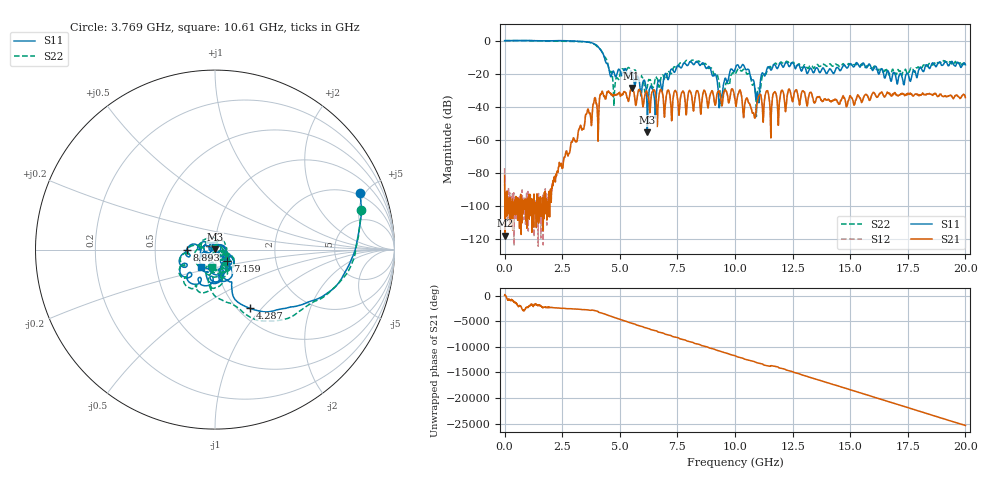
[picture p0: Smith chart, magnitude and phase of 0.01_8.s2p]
#  HZ  S  RI  R  50.00
! Rohde & Schwarz Vector Network Analyzer
! Rohde-Schwarz,ZNB20-2Port,1311601062102128,3.60
! Created: UTC 4/29/2024, 2:51:38 PM
! freq[Hz]  re:S11  im:S11  re:S21  im:S21  re:S12  im:S12  re:S22  im:S22
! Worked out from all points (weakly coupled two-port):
!   2007 points, 100 kHz to 20 GHz, reference 50 ohm
!   highest |S21| = -28.74 dB at 5.514 GHz (marker M1); lowest = -118.3 dB at 20.04 MHz (marker M2)
!   lowest |S11| = -55.5 dB at 6.191 GHz (marker M3), VSWR 1.00, Z = 50 + j0.163 ohm
!   |S11| at or under -10 dB: 4.328 GHz to end of sweep
!   |S22| runs from -46.0 to 0.1 dB; largest |S21 - S12| = 0.002
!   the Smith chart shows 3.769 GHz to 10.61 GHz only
!   S11 on the Smith chart (normalised r, x): 3.769 GHz: 1.80, +4.58; 4.287 GHz: 1.13, -0.86; 7.159 GHz: 1.14, -0.14; 8.893 GHz: 0.73, -0.00; 10.61 GHz: 0.84, -0.17
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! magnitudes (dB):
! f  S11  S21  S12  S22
! 100 kHz  0.0  -81.6  -77.2  0.1
! 20.04 MHz  0.0  -118.3  -105.2  0.0
! 2.223 GHz  -0.1  -81.1  -83.7  -0.3
! 3.34 GHz  -0.6  -53.6  -53.3  -0.6
! 3.769 GHz  -1.2  -51.4  -51.7  -1.5
! 4.287 GHz  -8.4  -32.6  -32.7  -8.7
! 4.776 GHz  -20.4  -32.7  -32.7  -29.8
! 5.514 GHz  -18.9  -28.7  -28.7  -20.1
! 6.191 GHz  -55.5  -32.1  -32.1  -28.2
! 6.67 GHz  -24.4  -37.3  -37.4  -25.9
! 7.159 GHz  -20.8  -32.2  -32.1  -19.2
! 7.916 GHz  -15.1  -39.3  -39.3  -12.0
! 8.893 GHz  -16.0  -34.3  -34.3  -16.6
! 9.372 GHz  -35.2  -34.2  -34.3  -33.9
! 10 GHz  -17.5  -35.6  -35.6  -20.5
! 10.61 GHz  -18.0  -37.8  -37.8  -20.0
! 10.82 GHz  -24.6  -44.5  -44.3  -26.1
! 10.97 GHz  -31.5  -37.4  -37.3  -31.5
! 11.46 GHz  -15.9  -32.6  -32.7  -16.2
! 13.34 GHz  -18.0  -32.6  -32.7  -15.3
! 16.67 GHz  -19.1  -31.8  -31.9  -20.5
! 20 GHz  -14.7  -34.5  -34.5  -14.3
